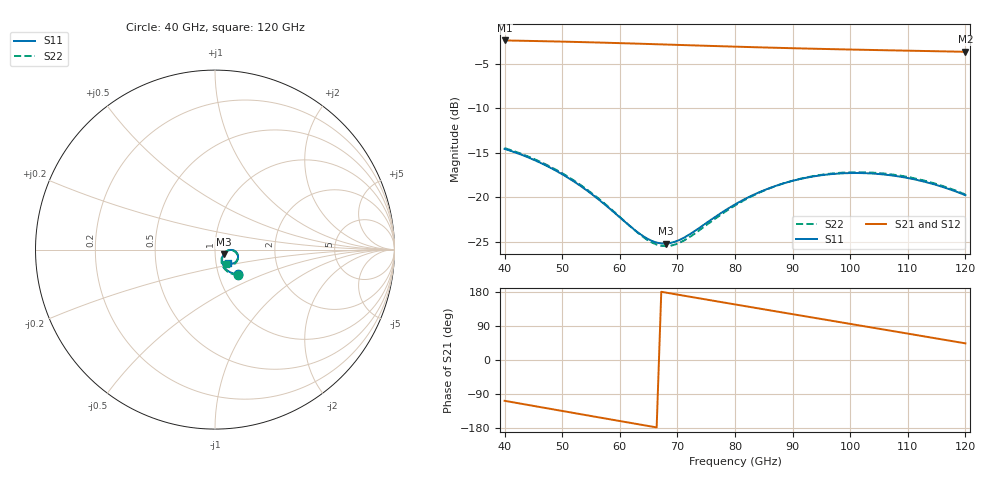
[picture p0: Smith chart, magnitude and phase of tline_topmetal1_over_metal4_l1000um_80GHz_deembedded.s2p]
! Created with skrf 2.2.0 (http://scikit-rf.org).
# GHz S DB R 50.0
! Port[1] = P1
! Port[2] = P2
!freq dBS11 angS11 dBS21 angS21 dBS12 angS12 dBS22 angS22
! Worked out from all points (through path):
!   101 points, 40 GHz to 120 GHz, reference 50 ohm
!   highest |S21| = -2.34 dB at 40 GHz (marker M1); lowest = -3.6 dB at 120 GHz (marker M2)
!   group delay of S21, straight-line fit = 7.22 ps
!   lowest |S11| = -25.2 dB at 68 GHz (marker M3), VSWR 1.12, Z = 55 - j2.87 ohm
!   |S11| at or under -10 dB: start of sweep to end of sweep
!   |S22| runs from -25.5 to -14.5 dB; largest |S21 - S12| = 8.8e-14
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40  -14.57 -46.5  -2.34 -107.7  -2.34 -107.7  -14.48 -47.6
43.2  -15.29 -51.2  -2.38 -116.3  -2.38 -116.3  -15.20 -52.4
46.4  -16.19 -55.4  -2.42 -124.8  -2.42 -124.8  -16.08 -56.9
50.4  -17.58 -59.7  -2.48 -135.5  -2.48 -135.5  -17.47 -61.5
53.6  -18.93 -61.8  -2.53 -144.1  -2.53 -144.1  -18.82 -64.0
57.6  -20.94 -61.4  -2.60 -154.7  -2.60 -154.7  -20.85 -64.1
60.8  -22.73 -57.0  -2.66 -163.2  -2.66 -163.2  -22.70 -60.3
64.8  -24.69 -44.0  -2.74 -173.7  -2.74 -173.7  -24.82 -47.6
67.2  -25.22 -32.4  -2.79 180.0  -2.79 180.0  -25.48 -35.8
68  -25.24 -28.4  -2.80 177.9  -2.80 177.9  -25.53 -31.5
69.6  -25.02 -20.7  -2.84 173.7  -2.84 173.7  -25.35 -23.3
71.2  -24.55 -14.1  -2.87 169.5  -2.87 169.5  -24.87 -16.2
75.2  -22.84 -4.0  -2.95 159.1  -2.95 159.1  -23.07 -5.3
80  -20.82 -1.0  -3.04 146.7  -3.04 146.7  -20.94 -2.2
83.2  -19.74 -2.2  -3.10 138.4  -3.10 138.4  -19.81 -3.5
87.2  -18.70 -5.6  -3.17 128.1  -3.17 128.1  -18.72 -7.1
93.6  -17.67 -13.5  -3.27 111.7  -3.27 111.7  -17.63 -15.5
100  -17.29 -22.5  -3.37 95.3  -3.37 95.3  -17.20 -25.1
103.2  -17.32 -27.1  -3.41 87.1  -3.41 87.1  -17.22 -30.0
107.2  -17.55 -32.7  -3.46 76.8  -3.46 76.8  -17.44 -36.1
113.6  -18.38 -40.8  -3.54 60.4  -3.54 60.4  -18.27 -45.1
120  -19.78 -46.5  -3.62 43.9  -3.62 43.9  -19.71 -52.2
